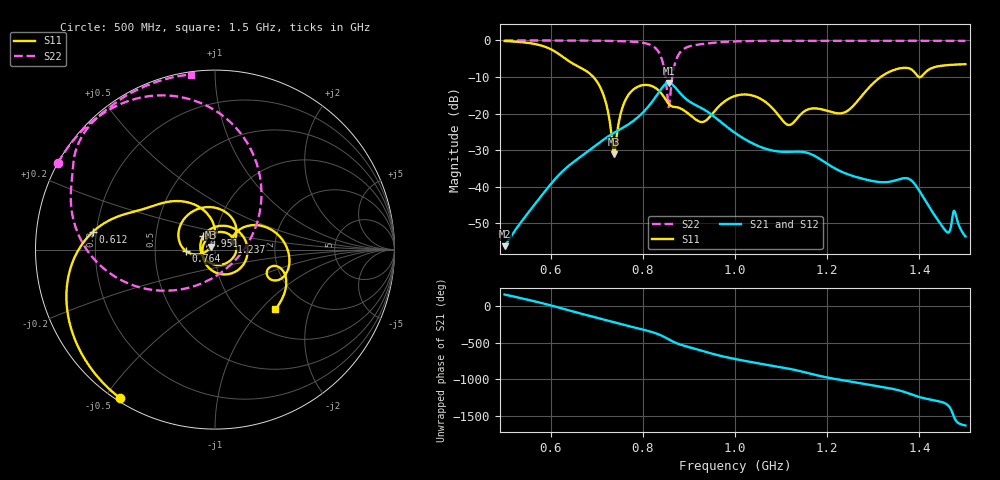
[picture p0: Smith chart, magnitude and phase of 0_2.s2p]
! TOUCHSTONE file generated by CST MICROWAVE STUDIO
! Date and time: Mon Sep 28 14:05:38 2020
! Project name: Scenario_1_Free_SPace.cst
! Parameters = {dx1=190.5; L_HA=400; MT=2.54; Rad_Dielectric=30; Rad_Lower=7.3; Rad_Upper=30; a_HA=580; a_WG=246; b_HA=500; b_WG=121; c_HA=0; c_WG=187; d_feed=85; h_feed=15; h_lower=18; h_upper=40}
! Header version: 2018
! Port assignment regex: !\s*Touchstone port\s*([0-9]+)\s*=\s*(CST MWS port|CST DS port)\s*([0-9]+|Zmin|Zmax)\s*\(\"(.*)\"\)(\s*mode\s*([0-9]+))?.*
! Touchstone port assignment:
! Touchstone port 1 = CST MWS port 1 ("")
! Touchstone port 2 = CST MWS port 2 ("")
# GHz S DB R 50
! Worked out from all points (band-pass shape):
!   1003 points, 500 MHz to 1.5 GHz, reference 50 ohm
!   highest |S21| = -11.62 dB at 856 MHz (marker M1); lowest = -56.3 dB at 500 MHz (marker M2)
!   |S21| within 3 dB of the highest: 832.3 MHz to 882.4 MHz (50.1 MHz wide, 5.84 % of centre)
!   lowest |S11| = -31.1 dB at 738 MHz (marker M3), VSWR 1.06, Z = 47.6 + j1.34 ohm
!   |S11| at or under -10 dB: 692.6 MHz to 1.316 GHz (623.5 MHz wide, 62.1 % of centre); 1.398622 GHz to 1.402944 GHz (4.323 MHz wide, 0.309 % of centre)
!   |S22| runs from -18.2 to 0.0 dB; largest |S21 - S12| = 8.3e-05
!   S11 on the Smith chart (normalised r, x): 500 MHz: 0.01, -0.55; 612 MHz: 0.19, +0.07; 764 MHz: 0.72, -0.01; 951 MHz: 0.87, +0.13; 1.237 GHz: 1.20, +0.11; 1.5 GHz: 1.41, -1.21
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0.5  -0.16 -122.7  -56.28 160.9  -56.28 160.9  -0.01 151.1
0.567  -1.01 -157.6  -44.58 65.0  -44.58 65.0  -0.01 146.5
0.612  -3.25 171.8  -37.57 -7.3  -37.57 -7.3  -0.02 143.1
0.667  -7.61 143.6  -31.63 -102.3  -31.63 -102.3  -0.05 138.3
0.711  -13.77 102.2  -27.48 -174.5  -27.48 -174.5  -0.09 133.4
0.738  -31.13 149.5  -25.23 139.8  -25.23 139.8  -0.16 129.6
0.764  -15.88 -176.6  -23.33 97.8  -23.33 97.8  -0.25 124.6
0.834  -13.64 67.3  -14.30 -23.4  -14.30 -23.4  -3.09 81.5
0.856  -17.32 32.0  -11.62 -91.6  -11.62 -91.6  -18.25 -40.3
0.8665  -18.15 21.4  -12.36 -126.2  -12.36 -126.2  -8.05 -145.0
0.885  -18.80 -13.4  -14.98 -171.3  -14.98 -171.3  -2.71 178.0
0.951  -20.05 130.2  -20.47 70.4  -20.47 70.4  -0.68 148.7
1  -15.19 22.7  -25.29 -1.4  -25.29 -1.4  -0.26 140.5
1.06  -16.29 -63.9  -29.36 -70.6  -29.36 -70.6  -0.13 133.3
1.116  -23.13 169.7  -30.48 -132.5  -30.48 -132.5  -0.11 128.1
1.167  -18.61 40.0  -31.22 152.3  -31.22 152.3  -0.11 124.1
1.237  -19.72 26.1  -36.23 64.6  -36.23 64.6  -0.08 118.8
1.334  -8.65 11.1  -38.68 -40.2  -38.68 -40.2  -0.09 111.4
1.381  -7.80 -22.5  -38.15 -121.7  -38.15 -121.7  -0.10 107.7
1.457  -6.80 -32.4  -52.05 108.8  -52.04 108.7  -0.11 101.5
1.477  -6.62 -38.6  -46.86 -98.4  -46.81 -99.2  -0.12 99.8
1.5  -6.50 -44.7  -53.60 169.3  -53.61 169.2  -0.14 97.7
